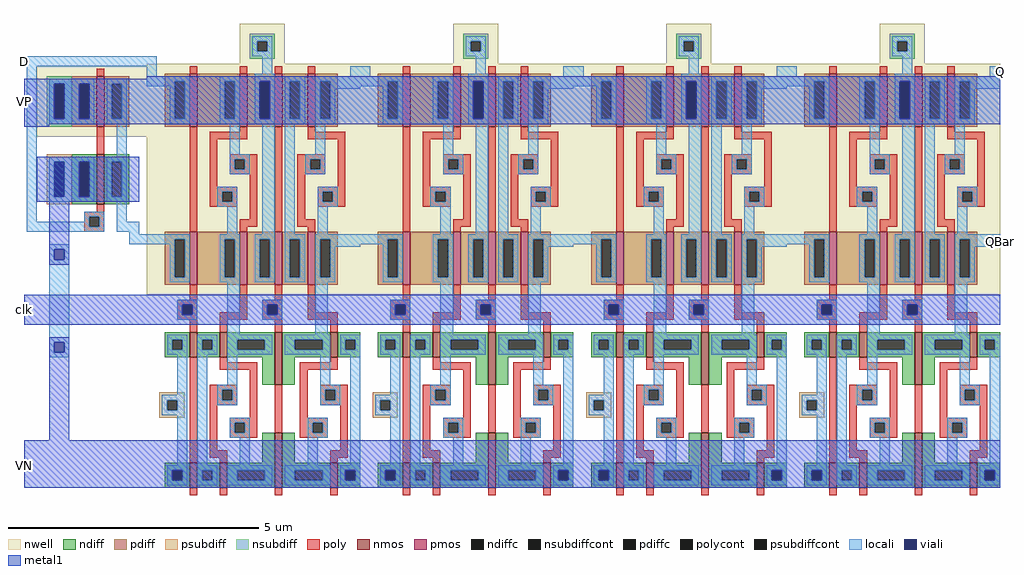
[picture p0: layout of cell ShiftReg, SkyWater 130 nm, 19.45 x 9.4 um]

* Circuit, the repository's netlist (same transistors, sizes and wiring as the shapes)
* SPICE3 file created from ShiftReg.ext - technology: sky130A

.subckt inverter VP A Y VN
X0 Y A VN VN sky130_fd_pr__nfet_01v8 ad=0.5 pd=3 as=0.5 ps=3 w=1 l=0.15
X1 Y A VP VP sky130_fd_pr__pfet_01v8 ad=0.5 pd=3 as=0.5 ps=3 w=1 l=0.15
.ends

.subckt FF VP D Q QBar DBar clk VN
X0 Q clk a_10_810# VN sky130_fd_pr__nfet_01v8 ad=0.3125 pd=2.05 as=0.3125 ps=2.05 w=1.1 l=0.15
X1 VN Q QBar VN sky130_fd_pr__nfet_01v8 ad=0.225 pd=1.9 as=0.30625 ps=2 w=0.5 l=0.15
X2 a_10_810# a_10_180# a_10_n630# VN sky130_fd_pr__nfet_01v8 ad=0.3125 pd=2.05 as=0.1125 ps=0.95 w=0.5 l=0.15
X3 a_10_810# clk D VP sky130_fd_pr__pfet_01v8 ad=0.44625 pd=1.9 as=0.525 ps=3.1 w=1.05 l=0.15
X4 a_10_180# clk DBar VP sky130_fd_pr__pfet_01v8 ad=0.44625 pd=1.9 as=0.525 ps=3.1 w=1.05 l=0.15
X5 a_10_180# a_10_810# a_10_n630# VN sky130_fd_pr__nfet_01v8 ad=0.30625 pd=2 as=0.1125 ps=0.95 w=0.5 l=0.15
X6 Q QBar a_350_180# VP sky130_fd_pr__pfet_01v8 ad=0.4725 pd=3 as=0.2625 ps=1.55 w=1.05 l=0.15
X7 QBar Q a_350_180# VP sky130_fd_pr__pfet_01v8 ad=0.4725 pd=3 as=0.2625 ps=1.55 w=1.05 l=0.15
X8 a_10_n630# clk VN VN sky130_fd_pr__nfet_01v8 ad=0.1125 pd=0.95 as=0.25 ps=2 w=0.5 l=0.15
X9 a_350_180# clk VP VP sky130_fd_pr__pfet_01v8 ad=0.2625 pd=1.55 as=0.28875 ps=1.6 w=1.05 l=0.15
X10 a_350_180# clk VP VP sky130_fd_pr__pfet_01v8 ad=0.2625 pd=1.55 as=0.28875 ps=1.6 w=1.05 l=0.15
X11 QBar clk a_10_180# VN sky130_fd_pr__nfet_01v8 ad=0.30625 pd=2 as=0.30625 ps=2 w=1.05 l=0.15
X12 VP a_10_180# a_10_810# VP sky130_fd_pr__pfet_01v8 ad=0.28875 pd=1.6 as=0.44625 ps=1.9 w=1.05 l=0.15
X13 VP a_10_810# a_10_180# VP sky130_fd_pr__pfet_01v8 ad=0.28875 pd=1.6 as=0.44625 ps=1.9 w=1.05 l=0.15
X14 a_10_n630# clk VN VN sky130_fd_pr__nfet_01v8 ad=0.1125 pd=0.95 as=0.25 ps=2 w=0.5 l=0.15
X15 VN QBar Q VN sky130_fd_pr__nfet_01v8 ad=0.225 pd=1.9 as=0.3125 ps=2.05 w=0.5 l=0.15
.ends

*.subckt ShiftReg D clk VN VP QBar Q
Xinverter_0 VP D FF_0/DBar VN inverter
XFF_0 VP D FF_1/D FF_1/DBar FF_0/DBar clk VN FF
XFF_1 VP FF_1/D FF_2/D FF_2/DBar FF_1/DBar clk VN FF
XFF_2 VP FF_2/D FF_3/D FF_3/DBar FF_2/DBar clk VN FF
XFF_3 VP FF_3/D Q QBar FF_3/DBar clk VN FF
*.ends

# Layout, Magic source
magic
tech sky130A
<< nwell >>
rect -345 755 -330 895
rect 1365 850 1370 895
rect 1365 535 1370 560
<< locali >>
rect -575 895 -310 915
rect -570 565 -550 895
rect 1365 850 1370 895
rect -370 565 -345 585
rect -365 560 -345 565
rect -365 540 -310 560
rect -525 530 -485 540
rect 1365 535 1370 560
rect -525 510 -515 530
rect -495 510 -485 530
rect -525 345 -485 510
rect -525 325 -515 345
rect -495 325 -485 345
rect -525 315 -485 325
<< viali >>
rect -515 510 -495 530
rect -515 325 -495 345
<< metal1 >>
rect -575 775 -525 870
rect -345 780 -330 870
rect -525 530 -485 715
rect -525 510 -515 530
rect -495 510 -485 530
rect -525 500 -485 510
rect -575 380 -330 440
rect -525 345 -485 355
rect -525 325 -515 345
rect -495 325 -485 345
rect -525 150 -485 325
rect -575 55 -330 150
use FF  FF_0
transform 1 0 -235 0 1 370
box -95 -330 330 610
use FF  FF_1
transform 1 0 190 0 1 370
box -95 -330 330 610
use FF  FF_2
transform 1 0 615 0 1 370
box -95 -330 330 610
use FF  FF_3
transform 1 0 1040 0 1 370
box -95 -330 330 610
use inverter  inverter_0 ~/Documents/MADVLSI_Projects/MADVLSI_MP1
transform 1 0 -355 0 1 560
box -195 5 10 335
<< labels >>
rlabel locali -575 905 -575 905 7 D
port 1 w
rlabel metal1 -575 410 -575 410 7 clk
port 2 w
rlabel metal1 -575 100 -575 100 7 VN
port 3 w
rlabel locali 1370 545 1370 545 3 QBar
port 5 e
rlabel locali 1370 885 1370 885 3 Q
port 6 e
rlabel metal1 -575 825 -575 825 7 VP
port 4 w
<< end >>

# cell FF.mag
magic
tech sky130A
<< nwell >>
rect 90 530 180 610
rect -95 70 330 530
<< nmos >>
rect -10 -55 5 -5
rect 50 -55 65 -5
rect 160 -110 175 -5
rect 270 -55 285 -5
rect -10 -315 5 -265
rect 50 -315 65 -265
rect 160 -315 175 -205
rect 270 -315 285 -265
<< pmos >>
rect -10 405 5 510
rect 90 405 105 510
rect 160 405 175 510
rect 225 405 240 510
rect -10 90 5 195
rect 90 90 105 195
rect 160 90 175 195
rect 225 90 240 195
<< ndiff >>
rect -60 -20 -10 -5
rect -60 -40 -45 -20
rect -25 -40 -10 -20
rect -60 -55 -10 -40
rect 5 -20 50 -5
rect 5 -40 15 -20
rect 35 -40 50 -20
rect 5 -55 50 -40
rect 65 -20 160 -5
rect 65 -40 85 -20
rect 140 -40 160 -20
rect 65 -55 160 -40
rect 135 -110 160 -55
rect 175 -20 270 -5
rect 175 -40 200 -20
rect 255 -40 270 -20
rect 175 -55 270 -40
rect 285 -20 330 -5
rect 285 -40 300 -20
rect 320 -40 330 -20
rect 285 -55 330 -40
rect 175 -110 200 -55
rect 135 -265 160 -205
rect -60 -280 -10 -265
rect -60 -300 -45 -280
rect -25 -300 -10 -280
rect -60 -315 -10 -300
rect 5 -280 50 -265
rect 5 -300 15 -280
rect 35 -300 50 -280
rect 5 -315 50 -300
rect 65 -280 160 -265
rect 65 -300 85 -280
rect 140 -300 160 -280
rect 65 -315 160 -300
rect 175 -265 200 -205
rect 175 -280 270 -265
rect 175 -300 200 -280
rect 255 -300 270 -280
rect 175 -315 270 -300
rect 285 -280 330 -265
rect 285 -300 300 -280
rect 320 -300 330 -280
rect 285 -315 330 -300
<< pdiff >>
rect -60 495 -10 510
rect -60 420 -40 495
rect -20 420 -10 495
rect -60 405 -10 420
rect 5 495 90 510
rect 5 420 60 495
rect 80 420 90 495
rect 5 405 90 420
rect 105 495 160 510
rect 105 420 130 495
rect 150 420 160 495
rect 105 405 160 420
rect 175 495 225 510
rect 175 420 190 495
rect 210 420 225 495
rect 175 405 225 420
rect 240 495 285 510
rect 240 420 250 495
rect 270 420 285 495
rect 240 405 285 420
rect -60 180 -10 195
rect -60 105 -40 180
rect -20 105 -10 180
rect -60 90 -10 105
rect 5 180 90 195
rect 5 105 60 180
rect 80 105 90 180
rect 5 90 90 105
rect 105 180 160 195
rect 105 105 130 180
rect 150 105 160 180
rect 105 90 160 105
rect 175 180 225 195
rect 175 105 190 180
rect 210 105 225 180
rect 175 90 225 105
rect 240 180 285 195
rect 240 105 250 180
rect 270 105 285 180
rect 240 90 285 105
<< ndiffc >>
rect -45 -40 -25 -20
rect 15 -40 35 -20
rect 85 -40 140 -20
rect 200 -40 255 -20
rect 300 -40 320 -20
rect -45 -300 -25 -280
rect 15 -300 35 -280
rect 85 -300 140 -280
rect 200 -300 255 -280
rect 300 -300 320 -280
<< pdiffc >>
rect -40 420 -20 495
rect 60 420 80 495
rect 130 420 150 495
rect 190 420 210 495
rect 250 420 270 495
rect -40 105 -20 180
rect 60 105 80 180
rect 130 105 150 180
rect 190 105 210 180
rect 250 105 270 180
<< psubdiff >>
rect -70 -140 -20 -125
rect -70 -160 -55 -140
rect -35 -160 -20 -140
rect -70 -175 -20 -160
<< nsubdiff >>
rect 110 575 160 590
rect 110 555 125 575
rect 145 555 160 575
rect 110 540 160 555
<< psubdiffcont >>
rect -55 -160 -35 -140
<< nsubdiffcont >>
rect 125 555 145 575
<< poly >>
rect -10 510 5 525
rect 90 510 105 525
rect 160 510 175 525
rect 225 510 240 525
rect -10 195 5 405
rect 90 395 105 405
rect 30 380 105 395
rect 30 285 45 380
rect 70 340 125 350
rect 70 320 80 340
rect 100 320 125 340
rect 70 310 125 320
rect 30 275 85 285
rect 30 255 55 275
rect 75 255 85 275
rect 30 245 85 255
rect 110 220 125 310
rect 90 205 125 220
rect 90 195 105 205
rect 160 195 175 405
rect 225 395 240 405
rect 225 380 300 395
rect 205 340 260 350
rect 205 320 230 340
rect 250 320 260 340
rect 205 310 260 320
rect 205 220 220 310
rect 285 285 300 380
rect 245 275 300 285
rect 245 255 255 275
rect 275 255 300 275
rect 245 245 300 255
rect 205 205 240 220
rect 225 195 240 205
rect -10 60 5 90
rect -35 50 5 60
rect -35 30 -25 50
rect -5 30 5 50
rect 90 35 105 90
rect 160 60 175 90
rect -35 20 5 30
rect -10 -5 5 20
rect 50 20 105 35
rect 135 50 175 60
rect 135 30 145 50
rect 165 30 175 50
rect 135 20 175 30
rect 225 35 240 90
rect 225 20 285 35
rect 50 -5 65 20
rect 160 -5 175 20
rect 270 -5 285 20
rect -10 -265 5 -55
rect 50 -65 65 -55
rect 50 -80 125 -65
rect 30 -120 85 -110
rect 30 -140 55 -120
rect 75 -140 85 -120
rect 30 -150 85 -140
rect 30 -240 45 -150
rect 110 -175 125 -80
rect 270 -65 285 -55
rect 210 -80 285 -65
rect 70 -185 125 -175
rect 70 -205 80 -185
rect 100 -205 125 -185
rect 160 -205 175 -110
rect 210 -175 225 -80
rect 250 -120 305 -110
rect 250 -140 260 -120
rect 280 -140 305 -120
rect 250 -150 305 -140
rect 210 -185 265 -175
rect 210 -205 235 -185
rect 255 -205 265 -185
rect 70 -215 125 -205
rect 30 -255 65 -240
rect 50 -265 65 -255
rect 210 -215 265 -205
rect 290 -240 305 -150
rect 270 -255 305 -240
rect 270 -265 285 -255
rect -10 -330 5 -315
rect 50 -330 65 -315
rect 160 -330 175 -315
rect 270 -330 285 -315
<< polycont >>
rect 80 320 100 340
rect 55 255 75 275
rect 230 320 250 340
rect 255 255 275 275
rect -25 30 -5 50
rect 145 30 165 50
rect 55 -140 75 -120
rect 80 -205 100 -185
rect 260 -140 280 -120
rect 235 -205 255 -185
<< locali >>
rect 115 575 155 585
rect 115 555 125 575
rect 145 555 155 575
rect 115 545 155 555
rect -95 505 -75 525
rect 135 510 155 545
rect -95 495 -10 505
rect -95 485 -40 495
rect -50 420 -40 485
rect -20 420 -10 495
rect -50 410 -10 420
rect 50 495 90 505
rect 50 420 60 495
rect 80 420 90 495
rect 50 410 90 420
rect 120 495 160 510
rect 310 505 330 525
rect 120 420 130 495
rect 150 420 160 495
rect 120 410 160 420
rect 70 350 90 410
rect 70 340 110 350
rect 70 320 80 340
rect 100 320 110 340
rect 70 310 110 320
rect 45 275 85 285
rect 45 255 55 275
rect 75 255 85 275
rect 45 245 85 255
rect 65 190 85 245
rect 135 190 160 410
rect -95 180 -10 190
rect -95 170 -40 180
rect -50 105 -40 170
rect -20 105 -10 180
rect -50 95 -10 105
rect 50 180 90 190
rect 50 105 60 180
rect 80 105 90 180
rect 50 95 90 105
rect 120 180 160 190
rect 120 105 130 180
rect 150 105 160 180
rect 120 95 160 105
rect 180 495 220 505
rect 180 420 190 495
rect 210 420 220 495
rect 180 410 220 420
rect 240 495 330 505
rect 240 420 250 495
rect 270 480 330 495
rect 270 420 280 480
rect 240 410 280 420
rect 180 190 200 410
rect 240 350 260 410
rect 220 340 260 350
rect 220 320 230 340
rect 250 320 260 340
rect 220 310 260 320
rect 245 275 285 285
rect 245 255 255 275
rect 275 255 285 275
rect 245 245 285 255
rect 245 190 265 245
rect 180 180 220 190
rect 180 105 190 180
rect 210 105 220 180
rect 180 95 220 105
rect 240 180 330 190
rect 240 105 250 180
rect 270 165 330 180
rect 270 105 280 165
rect 240 95 280 105
rect -35 50 5 60
rect -35 30 -25 50
rect -5 30 5 50
rect -35 20 5 30
rect 65 -10 90 95
rect 135 50 175 60
rect 135 30 145 50
rect 165 30 175 50
rect 135 20 175 30
rect 240 -10 265 95
rect -55 -20 -15 -10
rect -55 -40 -45 -20
rect -25 -40 -15 -20
rect -55 -50 -15 -40
rect -35 -130 -15 -50
rect -65 -140 -15 -130
rect -65 -160 -55 -140
rect -35 -160 -15 -140
rect -65 -170 -15 -160
rect -35 -270 -15 -170
rect -55 -280 -15 -270
rect -55 -300 -45 -280
rect -25 -300 -15 -280
rect -55 -310 -15 -300
rect 5 -20 45 -10
rect 5 -40 15 -20
rect 35 -40 45 -20
rect 5 -50 45 -40
rect 65 -20 155 -10
rect 65 -40 85 -20
rect 140 -40 155 -20
rect 65 -50 155 -40
rect 180 -20 270 -10
rect 180 -40 200 -20
rect 255 -40 270 -20
rect 180 -50 270 -40
rect 290 -20 330 -10
rect 290 -40 300 -20
rect 320 -40 330 -20
rect 290 -50 330 -40
rect 5 -270 25 -50
rect 65 -110 85 -50
rect 45 -120 85 -110
rect 45 -140 55 -120
rect 75 -140 85 -120
rect 45 -150 85 -140
rect 250 -110 270 -50
rect 250 -120 290 -110
rect 250 -140 260 -120
rect 280 -140 290 -120
rect 250 -150 290 -140
rect 70 -185 110 -175
rect 70 -205 80 -185
rect 100 -205 110 -185
rect 70 -215 110 -205
rect 90 -270 110 -215
rect 225 -185 265 -175
rect 225 -205 235 -185
rect 255 -205 265 -185
rect 225 -215 265 -205
rect 225 -270 245 -215
rect 310 -270 330 -50
rect 5 -280 45 -270
rect 5 -300 15 -280
rect 35 -300 45 -280
rect 5 -310 45 -300
rect 65 -280 155 -270
rect 65 -300 85 -280
rect 140 -300 155 -280
rect 65 -310 155 -300
rect 180 -280 270 -270
rect 180 -300 200 -280
rect 255 -300 270 -280
rect 180 -310 270 -300
rect 290 -280 330 -270
rect 290 -300 300 -280
rect 320 -300 330 -280
rect 290 -310 330 -300
<< viali >>
rect 130 420 150 495
rect -25 30 -5 50
rect 145 30 165 50
rect -45 -300 -25 -280
rect 300 -300 320 -280
<< metal1 >>
rect -95 495 330 505
rect -95 420 130 495
rect 150 420 330 495
rect -95 410 330 420
rect -95 50 330 70
rect -95 30 -25 50
rect -5 30 145 50
rect 165 30 330 50
rect -95 10 330 30
rect -95 -280 330 -220
rect -95 -300 -45 -280
rect -25 -300 300 -280
rect 320 -300 330 -280
rect -95 -315 330 -300
<< labels >>
rlabel metal1 -95 40 -95 40 7 clk
port 6 w
rlabel metal1 -95 -270 -95 -270 7 VN
port 7 w
rlabel locali 330 515 330 515 3 Q
port 3 e
rlabel metal1 -95 455 -95 455 7 VP
port 1 w
rlabel locali -95 515 -95 515 7 D
port 2 w
rlabel locali 330 180 330 180 3 QBar
port 4 e
rlabel locali -95 180 -95 180 7 DBar
port 5 w
<< end >>

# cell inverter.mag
magic
tech sky130A
<< nwell >>
rect -195 195 10 335
<< nmos >>
rect -75 60 -60 160
<< pmos >>
rect -75 215 -60 315
<< ndiff >>
rect -125 145 -75 160
rect -125 75 -110 145
rect -90 75 -75 145
rect -125 60 -75 75
rect -60 145 -10 160
rect -60 75 -45 145
rect -25 75 -10 145
rect -60 60 -10 75
<< pdiff >>
rect -125 300 -75 315
rect -125 230 -110 300
rect -90 230 -75 300
rect -125 215 -75 230
rect -60 300 -10 315
rect -60 230 -45 300
rect -25 230 -10 300
rect -60 215 -10 230
<< ndiffc >>
rect -110 75 -90 145
rect -45 75 -25 145
<< pdiffc >>
rect -110 230 -90 300
rect -45 230 -25 300
<< psubdiff >>
rect -175 145 -125 160
rect -175 75 -160 145
rect -140 75 -125 145
rect -175 60 -125 75
<< nsubdiff >>
rect -175 300 -125 315
rect -175 230 -160 300
rect -140 230 -125 300
rect -175 215 -125 230
<< psubdiffcont >>
rect -160 75 -140 145
<< nsubdiffcont >>
rect -160 230 -140 300
<< poly >>
rect -75 315 -60 330
rect -75 160 -60 215
rect -75 45 -60 60
rect -100 35 -60 45
rect -100 15 -90 35
rect -70 15 -60 35
rect -100 5 -60 15
<< polycont >>
rect -90 15 -70 35
<< locali >>
rect -170 300 -80 310
rect -170 230 -160 300
rect -140 230 -110 300
rect -90 230 -80 300
rect -170 220 -80 230
rect -55 300 -15 310
rect -55 230 -45 300
rect -25 230 -15 300
rect -55 220 -15 230
rect -35 155 -15 220
rect -170 145 -80 155
rect -170 75 -160 145
rect -140 75 -110 145
rect -90 75 -80 145
rect -170 65 -80 75
rect -55 145 -15 155
rect -55 75 -45 145
rect -25 75 -15 145
rect -55 65 -15 75
rect -100 35 -60 45
rect -100 25 -90 35
rect -195 15 -90 25
rect -70 15 -60 35
rect -195 5 -60 15
rect -35 25 -15 65
rect -35 5 10 25
<< viali >>
rect -160 230 -140 300
rect -110 230 -90 300
rect -160 75 -140 145
rect -110 75 -90 145
<< metal1 >>
rect -195 300 10 310
rect -195 230 -160 300
rect -140 230 -110 300
rect -90 230 10 300
rect -195 220 10 230
rect -195 145 10 155
rect -195 75 -160 145
rect -140 75 -110 145
rect -90 75 10 145
rect -195 65 10 75
<< labels >>
rlabel locali -195 15 -195 15 7 A
port 2 w
rlabel locali 10 15 10 15 3 Y
port 3 e
rlabel metal1 -195 265 -195 265 7 VP
port 1 w
rlabel metal1 -195 110 -195 110 7 VN
port 4 w
<< end >>
